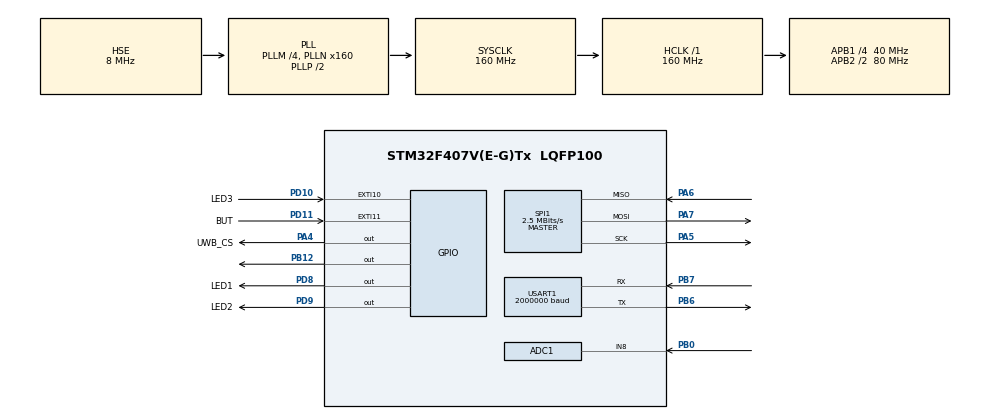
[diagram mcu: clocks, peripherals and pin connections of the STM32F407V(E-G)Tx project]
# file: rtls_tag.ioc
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ADC1.Channel-0\#ChannelRegularConversion=ADC_CHANNEL_8
ADC1.NbrOfConversionFlag=1
ADC1.Rank-0\#ChannelRegularConversion=1
ADC1.SamplingTime-0\#ChannelRegularConversion=ADC_SAMPLETIME_3CYCLES
ADC1.master=1
Mcu.Family=STM32F4
Mcu.Name=STM32F407V(E-G)Tx
Mcu.Package=LQFP100
NVIC.PriorityGroup=NVIC_PRIORITYGROUP_4
NVIC.TIM3_IRQn=true\:0\:0\:false\:false\:true\:true\:true\:true
PA13.Mode=Serial_Wire
PA13.Signal=SYS_JTMS-SWDIO
PA14.Mode=Serial_Wire
PA14.Signal=SYS_JTCK-SWCLK
PA4.GPIO_Label=UWB_CS
PA4.GPIO_Speed=GPIO_SPEED_FREQ_HIGH
PA4.PinState=GPIO_PIN_SET
PA4.Signal=GPIO_Output
PA5.Mode=Full_Duplex_Master
PA5.Signal=SPI1_SCK
PA6.Mode=Full_Duplex_Master
PA6.Signal=SPI1_MISO
PA7.Mode=Full_Duplex_Master
PA7.Signal=SPI1_MOSI
PB0.Signal=ADCx_IN8
PB12.GPIO_Speed=GPIO_SPEED_FREQ_HIGH
PB12.PinState=GPIO_PIN_SET
PB12.Signal=GPIO_Output
PB6.Mode=Asynchronous
PB6.Signal=USART1_TX
PB7.Mode=Asynchronous
PB7.Signal=USART1_RX
PD10.GPIO_Label=LED3
PD10.Signal=GPXTI10
PD11.GPIO_Label=BUT
PD11.Signal=GPXTI11
PD8.GPIO_Label=LED1
PD8.GPIO_Speed=GPIO_SPEED_FREQ_HIGH
PD8.PinState=GPIO_PIN_SET
PD8.Signal=GPIO_Output
PD9.GPIO_Label=LED2
PD9.GPIO_Speed=GPIO_SPEED_FREQ_HIGH
PD9.PinState=GPIO_PIN_SET
PD9.Signal=GPIO_Output
PH0-OSC_IN.Mode=HSE-External-Oscillator
PH0-OSC_IN.Signal=RCC_OSC_IN
PH1-OSC_OUT.Mode=HSE-External-Oscillator
PH1-OSC_OUT.Signal=RCC_OSC_OUT
ProjectManager.HeapSize=0x200
ProjectManager.StackSize=0x400
ProjectManager.TargetToolchain=STM32CubeIDE
RCC.48MHZClocksFreq_Value=80000000
RCC.AHBFreq_Value=160000000
RCC.APB1CLKDivider=RCC_HCLK_DIV4
RCC.APB1Freq_Value=40000000
RCC.APB1TimFreq_Value=80000000
RCC.APB2CLKDivider=RCC_HCLK_DIV2
RCC.APB2Freq_Value=80000000
RCC.APB2TimFreq_Value=160000000
RCC.CortexFreq_Value=160000000
RCC.HCLKFreq_Value=160000000
RCC.HSE_VALUE=8000000
RCC.HSI_VALUE=16000000
RCC.LSE_VALUE=32768
RCC.PLLM=4
RCC.PLLN=160
RCC.PLLSourceVirtual=RCC_PLLSOURCE_HSE
RCC.SYSCLKFreq_VALUE=160000000
RCC.SYSCLKSource=RCC_SYSCLKSOURCE_PLLCLK
RCC.VCOOutputFreq_Value=320000000
SH.ADCx_IN8.0=ADC1_IN8,IN8
SPI1.BaudRatePrescaler=SPI_BAUDRATEPRESCALER_32
SPI1.CalculateBaudRate=2.5 MBits/s
SPI1.Direction=SPI_DIRECTION_2LINES
SPI1.Mode=SPI_MODE_MASTER
SPI1.VirtualType=VM_MASTER
TIM2.Period=99999
TIM2.Prescaler=79
TIM3.Period=9999
TIM3.Prescaler=7999
TIM5.Period=4294967295
TIM5.Prescaler=79
USART1.BaudRate=2000000
USART1.VirtualMode=VM_ASYNC
VP_TIM2_VS_ClockSourceINT.Mode=Internal
VP_TIM3_VS_ClockSourceINT.Mode=Internal
VP_TIM5_VS_ClockSourceINT.Mode=Internal
board=custom

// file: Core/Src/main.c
/* USER CODE BEGIN Header */
/**
 ******************************************************************************
 * @file           : main.c
 * @brief          : Main program body
 ******************************************************************************
 * @attention
 *
 * Copyright (c) 2023 STMicroelectronics.
 * All rights reserved.
 *
 * This software is licensed under terms that can be found in the LICENSE file
 * in the root directory of this software component.
 * If no LICENSE file comes with this software, it is provided AS-IS.
 *
 ******************************************************************************
 */
/* USER CODE END Header */
#include "main.h"
#include "adc.h"
#include "spi.h"
#include "tim.h"
#include "usart.h"
#include "gpio.h"

/* USER CODE BEGIN Includes */
#include <stdio.h>
#include <string.h>
#include <math.h>
#include <stdlib.h>
#include <stdbool.h>
#include <stdint.h>
#include <stddef.h>
#include "decawave/dw_api.h"
#include "log/log.h"
#include "mac/mac.h"
#include "message_types.h"
#include "rtls_types.h"
#include "uart_types.h"
#include "kalman_filter.h"
#include "kalman_filter_real.h"
/* USER CODE END Includes */

/* USER CODE BEGIN PTD */
typedef struct
{
  bool tagProv;
  bool tagSync;
  bool tagSfSync;
  uint8_t notSyncCnt;
  uint32_t timeSyncRecv;
  uint32_t timeSyncEnd;
  uint32_t timeOffsetStart;
  uint32_t timeOffsetEnd;
  uint16_t beaconBitmap;
  uint8_t beaconRecvCnt;
  uint8_t respRecvCnt;
  uint32_t miss[BCN_SLOT_TOTAL];
  uint32_t count;
  bool kalmanInit;
  bool kalmanUse;
  double vTag;
} systemHandle_t;

typedef struct
{
  uint32_t bcnEnd[BCN_SLOT_TOTAL];
  uint32_t pollStart;
  uint32_t pollSent;
  uint32_t pollEnd;
  uint32_t respRecv[4];
  uint32_t respEnd[4];
  uint32_t locStart;
  uint32_t locSent;
  uint32_t locEnd;
} rtls_time_t;

typedef struct
{
  float rssi;
  int bcnSlotIndex;
} rssiBuf_t;

typedef struct
{
  float x;
  float y;
  uint32_t time;
} locTime_t;

/* USER CODE END PTD */

/* USER CODE BEGIN PD */
#define STOP_THRESHOLD 3.6

#define TEST
#define USE_V_THRESHOLD
#define V_THRESHOLD 72.0
#define FPATH_THRESHOLD 10
#ifdef __GNUC__
int __io_putchar(int ch)
#else
int fputc(int ch, FILE *f)
#endif /* __GNUC__ */
{
  HAL_UART_Transmit(&huart1, (uint8_t *)&ch, 1, 1);
  return ch;
}

#define RX_BEACON_TIMEOUT 600
#define RX_POLL_TIMEOUT 600
#define RX_RESP_TIMEOUT 800
#define RX_LOC_TIMEOUT 600
#define RESP_DELAY 360
#define US_TO_DECAWAVE_TICK 63898
#define ANTENNA_DELAY 16475
#define SPEED_OF_LIGHT 299792458
#define HERTZ_TO_PPM_MULTIPLIER_CHAN_1 (-1.0e6 / 3494.4e6)
#define HERTZ_TO_PPM_MULTIPLIER_CHAN_2 (-1.0e6 / 3993.6e6)
#define HERTZ_TO_PPM_MULTIPLIER_CHAN_3 (-1.0e6 / 4492.8e6)
#define HERTZ_TO_PPM_MULTIPLIER_CHAN_5 (-1.0e6 / 6489.6e6)
#define FREQ_OFFSET_MULTIPLIER (998.4e6 / 2.0 / 1024.0 / 131072.0)
/* USER CODE END PD */

/* USER CODE BEGIN PV */
const double dwFreq = 499.2e6 * 128;
static const uint8_t tagBaseAddr[2] = {0x00, 0x01};
systemHandle_t systemHandle = {0};
tagTypes_t myTag = {0};

sfInfo_t superframe = {
    .bcnSlotTotal = BCN_SLOT_TOTAL,
    .twrSlotTotal = TWR_SLOT_TOTAL,
    .sfNumberTotal = SF_NUMBER_DEFAULT,
    .sfOffset = 385,
    .bcnSlotCurrent = 0,
    .sfNumberCurrent = 0,
    .twrSlotCurrent = 0,
};

dwDeviceTypes_t device = {
    .extendedFrameLength = FRAME_LENGTH_NORMAL,
    .pacSize = PAC_SIZE_8,
    .pulseFrequency = TX_PULSE_FREQ_16MHZ,
    .dataRate = TRX_RATE_6800KBPS,
    .preambleLength = TX_PREAMBLE_LEN_128,
    .preambleCode = PREAMBLE_CODE_16MHZ_4,
    .channel = CHANNEL_2,
    .smartPower = true,
    .frameCheck = true,
    .permanentReceive = false,
    .deviceMode = IDLE_MODE,
    .forceTxPower = false,
};

rtls_time_t rtlsTimes = {0};
locTime_t locTime[16] = {0};
uint8_t locTimeIndex = 0;
/* USER CODE END PV */

void SystemClock_Config(void);

/* USER CODE BEGIN 0 */
void dwInteruptHandler(void)
{
  // dwReadSystemEventStatusRegister(&device);
  if (dwIsTransmitDone(&device))
  {
    dwClearTransmitStatus(&device);
  }
  if (dwIsReceiveTimestampAvailable(&device))
  {
    dwClearReceiveTimestampAvailableStatus(&device);
  }
  if (dwIsReceiveFailed(&device))
  {
    dwClearReceiveStatus(&device);
    dwRxSoftReset(&device);
  }
  if (dwIsReceiveTimeout(&device))
  {
    dwClearReceiveStatus(&device);
    dwRxSoftReset(&device);
  }
  if (dwIsReceiveDone(&device))
  {
    dwClearReceiveStatus(&device);
  }
}

void getFourAnchor(beaconHandle_t *beacon, uint16_t *bcnSlotBitmap)
{
  rssiBuf_t temp;
  rssiBuf_t rssiBuf[BCN_SLOT_TOTAL] = {0};
  int index = 0;

  for (int i = 0; i < BCN_SLOT_TOTAL; i++)
  {
    if (systemHandle.beaconBitmap & (1 << i))
    {
      rssiBuf[index].rssi = beacon[i].rssi;
      rssiBuf[index].bcnSlotIndex = i;
      index++;
    }
  }
  for (int i = 0; i < index - 1; i++)
  {
    for (int j = i + 1; j < index; j++)
    {
      if (rssiBuf[i].rssi < rssiBuf[j].rssi)
      {
        memcpy(&temp, &rssiBuf[i], sizeof(rssiBuf[i]));
        memcpy(&rssiBuf[i], &rssiBuf[j], sizeof(rssiBuf[j]));
        memcpy(&rssiBuf[j], &temp, sizeof(temp));
      }
    }
  }
  *bcnSlotBitmap = 0;
  for (int i = 0; i < 4; i++)
  {
    *bcnSlotBitmap |= (1 << rssiBuf[i].bcnSlotIndex);
  }
}

int getNearAnchor(beaconHandle_t *beacon)
{
  rssiBuf_t temp;
  rssiBuf_t rssiBuf[BCN_SLOT_TOTAL] = {0};
  int index = 0;

  for (int i = 0; i < BCN_SLOT_TOTAL; i++)
  {
    if (systemHandle.beaconBitmap & (1 << i))
    {
      rssiBuf[index].rssi = beacon[i].rssi;
      rssiBuf[index].bcnSlotIndex = i;
      index++;
    }
  }
  for (int i = 0; i < index - 1; i++)
  {
    for (int j = i + 1; j < index; j++)
    {
      if (rssiBuf[i].rssi < rssiBuf[j].rssi)
      {
        memcpy(&temp, &rssiBuf[i], sizeof(rssiBuf[i]));
        memcpy(&rssiBuf[i], &rssiBuf[j], sizeof(rssiBuf[j]));
        memcpy(&rssiBuf[j], &temp, sizeof(temp));
      }
    }
  }
  return rssiBuf[0].bcnSlotIndex;
}

bool calLocation(float x1, float y1, float x2, float y2, float x3, float y3, float d1, float d2, float d3, float *x, float *y)
{
  float A, B, C, D, E, F;
  if (d1 < 30 && d2 < 30 && d3 < 30 && d1 > 0 && d2 > 0 && d3 > 0)
  {
    A = 2 * (x2 - x1);
    B = 2 * (y2 - y1);
    C = d1 * d1 - d2 * d2 - x1 * x1 + x2 * x2 - y1 * y1 + y2 * y2;
    D = 2 * (x3 - x1);
    E = 2 * (y3 - y1);
    F = d1 * d1 - d3 * d3 - x1 * x1 + x3 * x3 - y1 * y1 + y3 * y3;
    if (E * A - B * D != 0.0)
    {
      *x = (C * E - F * B) / (E * A - B * D);
      *y = (C * D - A * F) / (B * D - A * E);
      if (!isnan(*x) && !isnan(*y) && !isinf(*x) && !isinf(*y))
        return true;
      else
        return false;
    }
    return false;
  }
  else
    return false;
}

bool getLocation(respHandle_t *resp, float *x, float *y)
{
  if (systemHandle.respRecvCnt == 4)
  {
    bool s[4] = {0};
    int cnt = 0;
    float x_sum = 0;
    float y_sum = 0;
    float xVal[4] = {0};
    float yVal[4] = {0};
    s[0] = calLocation(resp[0].respMess.x.xVal, resp[0].respMess.y.yVal, resp[1].respMess.x.xVal, resp[1].respMess.y.yVal, resp[2].respMess.x.xVal, resp[2].respMess.y.yVal, resp[0].distance, resp[1].distance, resp[2].distance, &xVal[0], &yVal[0]);
    s[1] = calLocation(resp[0].respMess.x.xVal, resp[0].respMess.y.yVal, resp[1].respMess.x.xVal, resp[1].respMess.y.yVal, resp[3].respMess.x.xVal, resp[3].respMess.y.yVal, resp[0].distance, resp[1].distance, resp[3].distance, &xVal[1], &yVal[1]);
    s[2] = calLocation(resp[3].respMess.x.xVal, resp[3].respMess.y.yVal, resp[1].respMess.x.xVal, resp[1].respMess.y.yVal, resp[2].respMess.x.xVal, resp[2].respMess.y.yVal, resp[3].distance, resp[1].distance, resp[2].distance, &xVal[2], &yVal[2]);
    s[3] = calLocation(resp[0].respMess.x.xVal, resp[0].respMess.y.yVal, resp[2].respMess.x.xVal, resp[2].respMess.y.yVal, resp[3].respMess.x.xVal, resp[3].respMess.y.yVal, resp[0].distance, resp[2].distance, resp[3].distance, &xVal[3], &yVal[3]);
    for (int i = 0; i < 4; i++)
    {
      if (s[i])
      {
        cnt++;
        x_sum += xVal[i];
        y_sum += yVal[i];
      }
    }
    if (cnt > 0)
    {
      *x = x_sum / (float)cnt;
      *y = y_sum / (float)cnt;
      return true;
    }
    else
      return false;
  }
  else
  {
    int index[3] = {0};
    bool s = false;
    int j = 0;
    for (int i = 0; i < 4; i++)
    {
      if (resp[i].distance > 0)
        index[j++] = i;
    }
    s = calLocation(resp[index[0]].respMess.x.xVal, resp[index[0]].respMess.y.yVal, resp[index[1]].respMess.x.xVal, resp[index[1]].respMess.y.yVal, resp[index[2]].respMess.x.xVal, resp[index[2]].respMess.y.yVal, resp[index[0]].distance, resp[index[1]].distance, resp[index[2]].distance, x, y);
    if (s)
      return true;
    else
      return false;
  }
}

bool getLocationNLOS(respHandle_t *resp, float *x, float *y)
{
  int fPathOk[4] = {0};
  int fPathOkCnt = 0;
  for (int i = 0; i < systemHandle.respRecvCnt; i++)
  {
    if (resp[i].fPath < FPATH_THRESHOLD && resp[i].confidenceLevel > 0.0)
    {
      fPathOk[fPathOkCnt++] = i;
    }
//    else
//    	resp[i].distance -= 0.4;
  }
  if (fPathOkCnt < 3)
    return getLocation(resp, x, y);
  else if (fPathOkCnt == 4)
  {
    bool s[4] = {0};
    int cnt = 0;
    float x_sum = 0;
    float y_sum = 0;
    float xVal[4] = {0};
    float yVal[4] = {0};
    s[0] = calLocation(resp[0].respMess.x.xVal, resp[0].respMess.y.yVal, resp[1].respMess.x.xVal, resp[1].respMess.y.yVal, resp[2].respMess.x.xVal, resp[2].respMess.y.yVal, resp[0].distance, resp[1].distance, resp[2].distance, &xVal[0], &yVal[0]);
    s[1] = calLocation(resp[0].respMess.x.xVal, resp[0].respMess.y.yVal, resp[1].respMess.x.xVal, resp[1].respMess.y.yVal, resp[3].respMess.x.xVal, resp[3].respMess.y.yVal, resp[0].distance, resp[1].distance, resp[3].distance, &xVal[1], &yVal[1]);
    s[2] = calLocation(resp[3].respMess.x.xVal, resp[3].respMess.y.yVal, resp[1].respMess.x.xVal, resp[1].respMess.y.yVal, resp[2].respMess.x.xVal, resp[2].respMess.y.yVal, resp[3].distance, resp[1].distance, resp[2].distance, &xVal[2], &yVal[2]);
    s[3] = calLocation(resp[0].respMess.x.xVal, resp[0].respMess.y.yVal, resp[2].respMess.x.xVal, resp[2].respMess.y.yVal, resp[3].respMess.x.xVal, resp[3].respMess.y.yVal, resp[0].distance, resp[2].distance, resp[3].distance, &xVal[3], &yVal[3]);
    for (int i = 0; i < 4; i++)
    {
      if (s[i])
      {
        cnt++;
        x_sum += xVal[i];
        y_sum += yVal[i];
      }
    }
    if (cnt > 0)
    {
      *x = x_sum / (float)cnt;
      *y = y_sum / (float)cnt;
      return true;
    }
    else
      return false;
  }
  else
  {
    bool s = false;
    s = calLocation(resp[fPathOk[0]].respMess.x.xVal, resp[fPathOk[0]].respMess.y.yVal,
                    resp[fPathOk[1]].respMess.x.xVal, resp[fPathOk[1]].respMess.y.yVal,
                    resp[fPathOk[2]].respMess.x.xVal, resp[fPathOk[2]].respMess.y.yVal,
                    resp[fPathOk[0]].distance, resp[fPathOk[1]].distance, resp[fPathOk[2]].distance, x, y);
    if (s)
      return true;
    else
      return false;
  }
}

void HAL_TIM_PeriodElapsedCallback(TIM_HandleTypeDef *htim)
{
  if (htim->Instance == TIM3)
  {
    if (locTimeIndex >= 2)
    {
      float dis = sqrt(pow(locTime[0].x - locTime[locTimeIndex - 1].x, 2) + pow(locTime[0].y - locTime[locTimeIndex - 1].y, 2));
      float t = (locTime[locTimeIndex - 1].time - locTime[0].time) / 1000.0;
      systemHandle.vTag = (dis / t) * 3.6;
      if (systemHandle.vTag < V_THRESHOLD)
        systemHandle.kalmanUse = true;
      else
      {
        systemHandle.kalmanUse = false;
        systemHandle.kalmanInit = false;
      }
    }
//    else
//    {
//      systemHandle.kalmanUse = false;
//      systemHandle.kalmanInit = false;
//    }
    memset(locTime, 0, sizeof(locTime));
    locTimeIndex = 0;
  }
}

/* USER CODE END 0 */

int main(void)
{
  /* USER CODE BEGIN 1 */
  beaconHandle_t beaconHandle[BCN_SLOT_TOTAL] = {0};
  pollHandle_t pollHandle = {0};
  respHandle_t respHandle[4] = {0};
  locMess_t locMess = {0};
  packet_t beaconPacket = {0};
  packet_t pollPacket = {0};
  packet_t respPacket = {0};
  packet_t locPacket = {0};
  packet_t bufPacket = {0};
  float clockOffsetRatio = 0.0;
  uint32_t bcnTimes[BCN_SLOT_TOTAL] = {0};
  uint32_t twrTimes[TWR_SLOT_TOTAL] = {0};
  kalmanFilter xFilter;
  kalmanFilter yFilter;

  /* USER CODE END 1 */

  /* MCU Configuration--------------------------------------------------------*/

  /* Reset of all peripherals, Initializes the Flash interface and the Systick. */
  HAL_Init();

  /* Configure the system clock */
  SystemClock_Config();

  /* Initialize all configured peripherals */
  MX_GPIO_Init();
  MX_ADC1_Init();
  MX_SPI1_Init();
  MX_USART1_UART_Init();
  MX_TIM2_Init();
  MX_TIM5_Init();
  MX_TIM3_Init();
  /* USER CODE BEGIN 2 */
  logi("TAG START");
  for (uint32_t i = 0; i < superframe.bcnSlotTotal; i++)
  {
    bcnTimes[i] = SF_BCN_SLOT_TIME * i;
  }
  for (uint32_t j = 0; j < superframe.twrSlotTotal; j++)
  {
    twrTimes[j] = (SF_TWR_SLOT_TIME * j + SF_BCN_SLOT_TIME * superframe.bcnSlotTotal);
  }

  memcpy(myTag.tagAddress, tagBaseAddr, sizeof(tagBaseAddr));

  dwInit(&device);
  if (dwConfigure(&device) == DW_ERROR_OK)
  {
    dwEnableAllLeds(&device);
  }
  else
  {
    loge("Configure failed");
    while (1)
      ;
  }
  dwNewConfiguration(&device);
  dwSetDefaults(&device);
  dwCommitConfiguration(&device);
  TIM5->CNT = 0;
  HAL_TIM_Base_Start(&htim5);
  TIM3->CNT = 0;
  HAL_TIM_Base_Start_IT(&htim3);
  TIM2->CNT = 0;
  HAL_TIM_Base_Start(&htim2);

  //  HAL_SuspendTick();
  //  HAL_PWR_EnterSLEEPMode(PWR_MAINREGULATOR_ON, PWR_SLEEPENTRY_WFI);
  //  HAL_ResumeTick();
  //  HAL_Delay(1000000);

  /* USER CODE END 2 */

  /* Infinite loop */
  while (1)
  {

    /* USER CODE BEGIN 3 */
    if (!systemHandle.tagSync)
    {
      dwNewReceive(&device);
      dwSetDefaults(&device);
      dwStartReceive(&device);
      do
      {
        dwReadSystemEventStatusRegister(&device);
      } while (!((device.sysstatus[1] & (((1 << RXDFR_BIT) | (1 << RXFCG_BIT)) >> 8)) || (device.sysstatus[2] & ((1 << RXRFTO_BIT) >> 16))));
      if (device.sysstatus[1] & (((1 << RXDFR_BIT) | (1 << RXFCG_BIT)) >> 8))
      {
        systemHandle.timeSyncRecv = TIM2->CNT;
        dwInteruptHandler();
        memset(&bufPacket, 0, sizeof(bufPacket));
        int length = dwGetDataLength(&device);
        if (length > 0)
        {
          dwGetData(&device, (uint8_t *)&bufPacket, length);
          if (bufPacket.payload[BEAC_ID] == TYPE_BEAC)
          {
            uint8_t bcnSlotNum = bufPacket.payload[BEAC_BCN_SLOT_NUM];
            uint8_t sfNumCurrent = bufPacket.payload[BEAC_SF_NUM];
            if (bcnSlotNum < superframe.bcnSlotTotal && sfNumCurrent < superframe.sfNumberTotal)
            {
              systemHandle.timeSyncEnd = TIM2->CNT;
              if (systemHandle.timeSyncEnd > systemHandle.timeSyncRecv)
              {
                TIM2->CNT = bcnTimes[bcnSlotNum] + superframe.sfOffset + systemHandle.timeSyncEnd - systemHandle.timeSyncRecv;
              }
              else
              {
                TIM2->CNT = bcnTimes[bcnSlotNum] + superframe.sfOffset + systemHandle.timeSyncEnd + 100000 - systemHandle.timeSyncRecv;
              }
              superframe.sfNumberCurrent = sfNumCurrent;
              systemHandle.tagSync = true;
              systemHandle.notSyncCnt = 0;
            }
          }
        }
      }
      else
      {
        dwInteruptHandler();
      }
    }
    else
    {
      memset(beaconHandle, 0, sizeof(beaconHandle_t) * BCN_SLOT_TOTAL);
      systemHandle.count++;
      systemHandle.beaconRecvCnt = 0;
      systemHandle.beaconBitmap = 0;
      while (!((TIM2->CNT > 0) && (TIM2->CNT < 10)))
        ;
      superframe.bcnSlotCurrent = 0;
      systemHandle.tagSfSync = false;
      while (superframe.bcnSlotCurrent < superframe.bcnSlotTotal)
      {
        while (TIM2->CNT < bcnTimes[superframe.bcnSlotCurrent])
          ;
        dwSetReceiveWaitTimeout(&device, RX_BEACON_TIMEOUT);
        dwWriteSystemConfigurationRegister(&device);
        dwNewReceive(&device);
        dwSetDefaults(&device);
        dwStartReceive(&device);
        do
        {
          dwReadSystemEventStatusRegister(&device);
        } while (!((device.sysstatus[1] & (((1 << RXDFR_BIT) | (1 << RXFCG_BIT)) >> 8)) || (device.sysstatus[2] & ((1 << RXRFTO_BIT) >> 16))));
        systemHandle.timeSyncRecv = TIM2->CNT;
        dwInteruptHandler();
        if (device.sysstatus[1] & (((1 << RXDFR_BIT) | (1 << RXFCG_BIT)) >> 8))
        {
          int length = dwGetDataLength(&device);
          if (length > 0)
          {
            memset(&beaconPacket, 0, sizeof(beaconPacket));
            dwGetData(&device, (uint8_t *)&beaconPacket, length);
            if (beaconPacket.payload[BEAC_ID] == TYPE_BEAC)
            {
              uint8_t sfNumCurrent = beaconPacket.payload[BEAC_SF_NUM];
              if (sfNumCurrent < superframe.sfNumberTotal)
                superframe.sfNumberCurrent = sfNumCurrent;
              systemHandle.timeSyncEnd = TIM2->CNT;
              if (systemHandle.tagSfSync == false)
              {
                if (systemHandle.timeSyncEnd > systemHandle.timeSyncRecv)
                {
                  TIM2->CNT = bcnTimes[superframe.bcnSlotCurrent] + superframe.sfOffset + systemHandle.timeSyncEnd - systemHandle.timeSyncRecv;
                }
                else
                {
                  TIM2->CNT = bcnTimes[superframe.bcnSlotCurrent] + superframe.sfOffset + systemHandle.timeSyncEnd + 100000 - systemHandle.timeSyncRecv;
                }
                systemHandle.tagSfSync = true;
              }
              memcpy((uint8_t *)&beaconHandle[superframe.bcnSlotCurrent].beaconMess, beaconPacket.payload, sizeof(beaconHandle[superframe.bcnSlotCurrent].beaconMess));
#ifdef TEST
              systemHandle.tagProv = true;
              myTag.twrSlotNumber = tagBaseAddr[1];
#endif
              if (systemHandle.tagProv == false)
              {
                if (beaconHandle[superframe.bcnSlotCurrent].beaconMess.flag & (1 << PROV_TAG))
                {
                  if (!memcmp(beaconHandle[superframe.bcnSlotCurrent].beaconMess.beaconExt.tagAddr, myTag.tagAddress, sizeof(myTag.tagAddress)))
                  {
                    systemHandle.tagProv = true;
                    myTag.twrSlotNumber = beaconHandle[superframe.bcnSlotCurrent].beaconMess.beaconExt.twrSlotNumber;
                  }
                }
              }
              else
              {
                if (beaconHandle[superframe.bcnSlotCurrent].beaconMess.flag & (1 << DEL_TAG))
                {
                  if (!memcmp(beaconHandle[superframe.bcnSlotCurrent].beaconMess.beaconExt.tagAddr, myTag.tagAddress, sizeof(myTag.tagAddress)))
                  {
                    HAL_NVIC_SystemReset();
                    systemHandle.tagProv = false;
                    myTag.twrSlotNumber = 0;
                  }
                }
              }
              beaconHandle[superframe.bcnSlotCurrent].rssi = dwGetReceivePower(&device);
              memcpy(beaconHandle[superframe.bcnSlotCurrent].anchorAddr, beaconPacket.sourceAddress, sizeof(beaconPacket.sourceAddress));
              systemHandle.beaconBitmap |= (1 << superframe.bcnSlotCurrent);
              systemHandle.beaconRecvCnt++;
            }
          }
        }
        else
        {
          systemHandle.miss[superframe.bcnSlotCurrent]++;
        }
        rtlsTimes.bcnEnd[superframe.bcnSlotCurrent] = TIM2->CNT;
        superframe.bcnSlotCurrent++;
      }
      if (systemHandle.tagSfSync == true)
      {
        systemHandle.notSyncCnt = 0;
      }
      else
      {
        systemHandle.notSyncCnt++;
        if (systemHandle.notSyncCnt >= 5)
        {
          systemHandle.tagSync = false;
        }
      }
      // TWR
      if (systemHandle.tagProv == true && myTag.twrSlotNumber >= superframe.twrSlotTotal * superframe.sfNumberCurrent && myTag.twrSlotNumber < superframe.twrSlotTotal * (superframe.sfNumberCurrent + 1) && systemHandle.beaconRecvCnt >= 3)
      {
        superframe.twrSlotCurrent = 0;
        while (superframe.twrSlotCurrent < superframe.twrSlotTotal)
        {
          while (TIM2->CNT < twrTimes[superframe.twrSlotCurrent])
            ;
          if (superframe.twrSlotCurrent + superframe.twrSlotTotal * superframe.sfNumberCurrent == myTag.twrSlotNumber)
          {
            while (TIM2->CNT < twrTimes[superframe.twrSlotCurrent] + 100)
              ;
            rtlsTimes.pollStart = TIM2->CNT;
            memset(&pollHandle, 0, sizeof(pollHandle));
            memset(&pollPacket, 0, sizeof(pollPacket));
            pollHandle.pollMess.messID = TYPE_POLL;
            pollHandle.pollMess.twrSlotNumber = superframe.twrSlotCurrent;
            if (systemHandle.beaconRecvCnt > 4)
            {
              getFourAnchor(beaconHandle, &pollHandle.pollMess.bcnSlotBitmap);
            }
            else
            {
              pollHandle.pollMess.bcnSlotBitmap = systemHandle.beaconBitmap;
            }
            int index = 0;
            for (int i = 0; i < BCN_SLOT_TOTAL; i++)
            {
              if (pollHandle.pollMess.bcnSlotBitmap & (1 << i))
              {
                memcpy(&pollHandle.pollMess.anchorAddr[index * 2], beaconHandle[i].anchorAddr, sizeof(beaconHandle[i].anchorAddr));
                index++;
              }
            }
            MAC80215_PACKET_INIT(pollPacket, MAC802154_TYPE_DATA);
            memset(pollPacket.destAddress, 0xFF, sizeof(pollPacket.destAddress));
            memcpy(pollPacket.sourceAddress, myTag.tagAddress, sizeof(myTag.tagAddress));
            memcpy(pollPacket.payload, (uint8_t *)&pollHandle.pollMess, sizeof(pollHandle.pollMess));
            dwNewTransmit(&device);
            dwSetDefaults(&device);
            dwSetData(&device, (uint8_t *)&pollPacket, MAC802154_HEADER_LENGTH + sizeof(pollHandle.pollMess));
            dwStartTransmit(&device, false);
            do
            {
              dwReadSystemEventStatusRegister(&device);
            } while (!(device.sysstatus[0] & (1 << TXFRS_BIT)));
            rtlsTimes.pollSent = TIM2->CNT;
            dwInteruptHandler();
            dwGetTransmitTimestamp(&device, &pollHandle.timestamp);
            pollHandle.timestamp.timeFull += ANTENNA_DELAY;
            uint8_t respIndex = 0;
            rtlsTimes.pollEnd = TIM2->CNT;
            systemHandle.respRecvCnt = 0;
            while (respIndex < 4)
            {
              while (TIM2->CNT < twrTimes[superframe.twrSlotCurrent] + (SF_POLL_SLOT_TIME + SF_RESP_SLOT_TIME * respIndex))
                ;
              dwSetReceiveWaitTimeout(&device, RX_RESP_TIMEOUT);
              dwWriteSystemConfigurationRegister(&device);
              dwNewReceive(&device);
              dwSetDefaults(&device);
              dwStartReceive(&device);
              do
              {
                dwReadSystemEventStatusRegister(&device);
              } while (!((device.sysstatus[1] & (((1 << RXDFR_BIT) | (1 << RXFCG_BIT)) >> 8)) || (device.sysstatus[2] & ((1 << RXRFTO_BIT) >> 16))));
              rtlsTimes.respRecv[respIndex] = TIM2->CNT;
              dwInteruptHandler();
              if (device.sysstatus[1] & (((1 << RXDFR_BIT) | (1 << RXFCG_BIT)) >> 8))
              {
                int length = dwGetDataLength(&device);
                if (length > 0)
                {
                  dwGetData(&device, (uint8_t *)&respPacket, length);
                  if (!memcmp(respPacket.destAddress, tagBaseAddr, 2) && respPacket.payload[RESP_ID] == TYPE_RESP)
                  {
                    memcpy(&respHandle[respIndex].respMess, respPacket.payload, sizeof(respHandle[respIndex].respMess));
                    dwGetReceiveTimestamp(&device, &respHandle[respIndex].timestamp);
                    respHandle[respIndex].timestamp.timeFull -= ANTENNA_DELAY;
                    clockOffsetRatio = dwReadCarrierIntegrator(&device) * (FREQ_OFFSET_MULTIPLIER * HERTZ_TO_PPM_MULTIPLIER_CHAN_2 / 1.0e6);
                    dwTimestamp_t timeRx, timeTx;
                    memcpy(timeRx.timeRaw, respHandle[respIndex].respMess.rxTimestamp.timeRaw, sizeof(respHandle[respIndex].respMess.rxTimestamp.timeRaw));
                    memcpy(timeTx.timeRaw, respHandle[respIndex].respMess.txTimestamp.timeRaw, sizeof(respHandle[respIndex].respMess.txTimestamp.timeRaw));
                    timeRx.timeFull -= ANTENNA_DELAY;
                    timeTx.timeFull += ANTENNA_DELAY;
                    uint32_t timeInit = respHandle[respIndex].timestamp.timeLow32 - pollHandle.timestamp.timeLow32;
                    uint32_t timeResp = timeTx.timeLow32 - timeRx.timeLow32;
                    double tof = ((double)timeInit - (double)timeResp * (1 - clockOffsetRatio)) / 2.0;
                    respHandle[respIndex].distance = (float)(tof * SPEED_OF_LIGHT / dwFreq);
                    respHandle[respIndex].fPath = dwGetFirstPathPower(&device);
                    float prNlos, mc;
                    respHandle[respIndex].confidenceLevel = dwGetConfidenceLevel(&device, &prNlos, &mc);
                    respHandle[respIndex].prNlos = prNlos;
                    respHandle[respIndex].mc = mc;
                    if (respHandle[respIndex].distance < 0)
                      respHandle[respIndex].distance = 0.001;
                    systemHandle.respRecvCnt++;
                  }
                }
              }
              rtlsTimes.respEnd[respIndex] = TIM2->CNT;
              respIndex++;
            }
            while (TIM2->CNT < twrTimes[superframe.twrSlotCurrent] + (SF_POLL_SLOT_TIME + SF_RESP_SLOT_TIME * 4))
              ;
            if (systemHandle.respRecvCnt >= 3)
            {
              while (TIM2->CNT < twrTimes[superframe.twrSlotCurrent] + ((SF_POLL_SLOT_TIME + SF_RESP_SLOT_TIME * 4)) + 100)
                ;
              memset(&locPacket, 0, sizeof(locPacket));
              memset(&locMess, 0, sizeof(locMess));
              rtlsTimes.locStart = TIM2->CNT;
              float xMeas, yMeas;
              int bcnIndex = getNearAnchor(beaconHandle);
#ifndef USE_V_THRESHOLD
              if (getLocation(respHandle, &xMeas, &yMeas) == true)
              {
                if (systemHandle.kalmanInit == false)
                {
                  kalman_init(&xFilter, 0.2, 0.1, 0.01, xMeas);
                  kalman_init(&yFilter, 0.2, 0.1, 0.01, yMeas);
                  systemHandle.kalmanInit = true;
                }
                if (!isnan(xMeas) && !isnan(yMeas) && !isinf(xMeas) && !isinf(yMeas))
                {
                  locMess.x.xVal = xMeas;
                  locMess.y.yVal = yMeas;
                  // 		              locMess.x.xVal = updateEstimate(&xFilter, xMeas);
                  //                    locMess.y.yVal = updateEstimate(&yFilter, yMeas);
                }
                else
                {
                  locMess.x.xVal = 0.0;
                  locMess.y.yVal = 0.0;
                }
              }
#else
              if (getLocation(respHandle, &xMeas, &yMeas) == true)
              {
                if (!isnan(xMeas) && !isnan(yMeas) && !isinf(xMeas) && !isinf(yMeas))
                {
                  locTime[locTimeIndex].x = xMeas;
                  locTime[locTimeIndex].y = yMeas;
                  locTime[locTimeIndex].time = HAL_GetTick();
                  locTimeIndex++;
                  systemHandle.kalmanUse = false;
                  if (systemHandle.kalmanUse == true)
                  {
                    if (systemHandle.kalmanInit == false)
                    {
                    	kalman_init(&xFilter, 0.5, 0.2, 0.01, xMeas);
						kalman_init(&yFilter, 0.5, 0.2, 0.01, yMeas);
						systemHandle.kalmanInit = true;
                    }
                    if (systemHandle.vTag > STOP_THRESHOLD)
                    {
                      locMess.x.xVal = updateEstimate(&xFilter, xMeas);
                      locMess.y.yVal = updateEstimate(&yFilter, yMeas);
                      locMess.x.xVal = updateEstimate(&xFilter, xMeas);
                      locMess.y.yVal = updateEstimate(&yFilter, yMeas);
                    }
                    else
                    {
					  locMess.x.xVal = updateEstimate(&xFilter, xMeas);
					  locMess.y.yVal = updateEstimate(&yFilter, yMeas);
					  locMess.x.xVal = updateEstimate(&xFilter, xMeas);
					  locMess.y.yVal = updateEstimate(&yFilter, yMeas);
                    }
                  }
                  else
                  {
                    locMess.x.xVal = xMeas;
                    locMess.y.yVal = yMeas;
                  }
                }
                else
                {
                  locMess.x.xVal = 0.0;
                  locMess.y.yVal = 0.0;
                }
              }
#endif
              locMess.messID = TYPE_LOC;
              locMess.twrSlotNumber = myTag.twrSlotNumber;
              MAC80215_PACKET_INIT(locPacket, MAC802154_TYPE_DATA);
              memcpy(locPacket.destAddress, beaconHandle[bcnIndex].anchorAddr, sizeof(beaconHandle[bcnIndex].anchorAddr));
              memcpy(locPacket.sourceAddress, myTag.tagAddress, sizeof(locPacket.sourceAddress));
              memcpy(locPacket.payload, (uint8_t *)&locMess, sizeof(locMess));
              dwNewTransmit(&device);
              dwSetDefaults(&device);
              dwSetData(&device, (uint8_t *)&locPacket, MAC802154_HEADER_LENGTH + sizeof(locMess));
              dwStartTransmit(&device, false);
              do
              {
                dwReadSystemEventStatusRegister(&device);
              } while (!(device.sysstatus[0] & (1 << TXFRS_BIT)));
              rtlsTimes.locSent = TIM2->CNT;
              dwInteruptHandler();
              rtlsTimes.locEnd = TIM2->CNT;
            }
          }
          superframe.twrSlotCurrent++;
        }
      }
      //      memset(&rtlsTimes, 0, sizeof(rtlsTimes));
    }
  }
  /* USER CODE END 3 */
}

void SystemClock_Config(void)
{
  RCC_OscInitTypeDef RCC_OscInitStruct = {0};
  RCC_ClkInitTypeDef RCC_ClkInitStruct = {0};

  /** Configure the main internal regulator output voltage
   */
  __HAL_RCC_PWR_CLK_ENABLE();
  __HAL_PWR_VOLTAGESCALING_CONFIG(PWR_REGULATOR_VOLTAGE_SCALE1);

  /** Initializes the RCC Oscillators according to the specified parameters
   * in the RCC_OscInitTypeDef structure.
   */
  RCC_OscInitStruct.OscillatorType = RCC_OSCILLATORTYPE_HSE;
  RCC_OscInitStruct.HSEState = RCC_HSE_ON;
  RCC_OscInitStruct.PLL.PLLState = RCC_PLL_ON;
  RCC_OscInitStruct.PLL.PLLSource = RCC_PLLSOURCE_HSE;
  RCC_OscInitStruct.PLL.PLLM = 4;
  RCC_OscInitStruct.PLL.PLLN = 160;
  RCC_OscInitStruct.PLL.PLLP = RCC_PLLP_DIV2;
  RCC_OscInitStruct.PLL.PLLQ = 4;
  if (HAL_RCC_OscConfig(&RCC_OscInitStruct) != HAL_OK)
  {
    Error_Handler();
  }

  /** Initializes the CPU, AHB and APB buses clocks
   */
  RCC_ClkInitStruct.ClockType = RCC_CLOCKTYPE_HCLK | RCC_CLOCKTYPE_SYSCLK | RCC_CLOCKTYPE_PCLK1 | RCC_CLOCKTYPE_PCLK2;
  RCC_ClkInitStruct.SYSCLKSource = RCC_SYSCLKSOURCE_PLLCLK;
  RCC_ClkInitStruct.AHBCLKDivider = RCC_SYSCLK_DIV1;
  RCC_ClkInitStruct.APB1CLKDivider = RCC_HCLK_DIV4;
  RCC_ClkInitStruct.APB2CLKDivider = RCC_HCLK_DIV2;

  if (HAL_RCC_ClockConfig(&RCC_ClkInitStruct, FLASH_LATENCY_5) != HAL_OK)
  {
    Error_Handler();
  }
}

void Error_Handler(void)
{
  __disable_irq();
  while (1)
  {
  }
}
